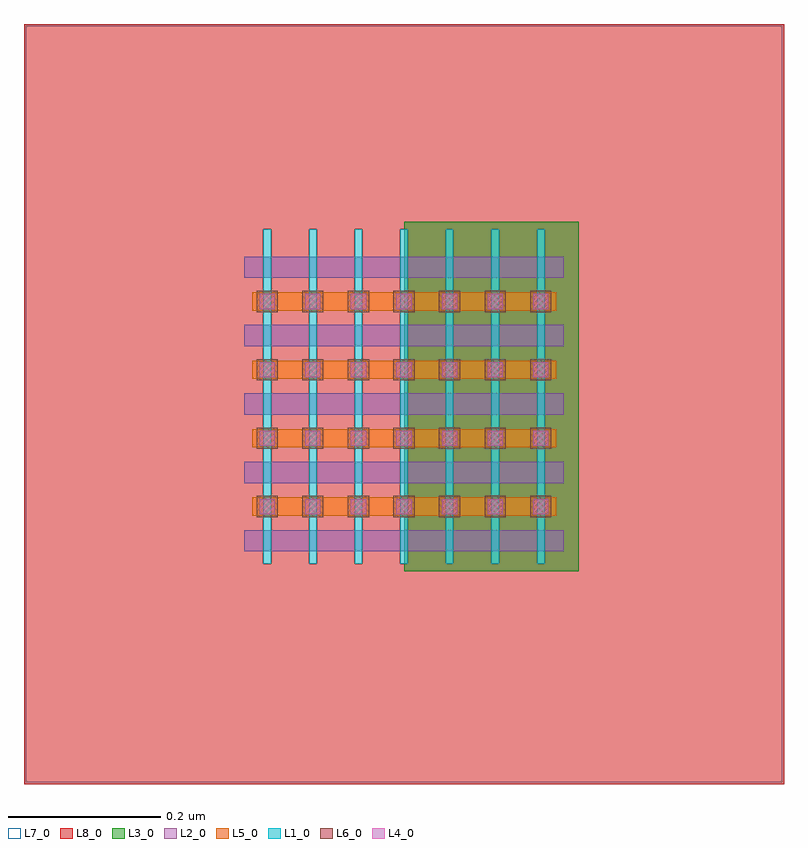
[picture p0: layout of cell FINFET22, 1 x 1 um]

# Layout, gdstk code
import gdstk
lib = gdstk.Library(unit=1e-6, precision=1e-09)
def R(c, l, rs):  # rectangles x0, y0, x1, y1
    for r in rs: c.add(gdstk.rectangle(r[:2], r[2:], *l))
def A(c, l, x, y, w, h, nx, ny, dx, dy):  # array of equal rectangles
    R(c, l, [(x+i*dx, y+j*dy, x+i*dx+w, y+j*dy+h) for i in range(nx) for j in range(ny)])
L1_0 = (1, 0)
L2_0 = (2, 0)
L3_0 = (3, 0)
L4_0 = (4, 0)
L5_0 = (5, 0)
L6_0 = (6, 0)
L7_0 = (7, 0)
L8_0 = (8, 0)

finfet22 = lib.new_cell('FINFET22')
A(finfet22, L1_0, -0.185, -0.21, 0.01, 0.44, 7, 1, 0.06, 0)
A(finfet22, L2_0, -0.21, -0.194, 0.42, 0.028, 1, 5, 0, 0.09)
R(finfet22, L3_0, [(0,-0.22,0.23,0.24)])
A(finfet22, L4_0, -0.19, -0.145, 0.02, 0.02, 7, 4, 0.06, 0.09)
A(finfet22, L5_0, -0.2, -0.147, 0.4, 0.024, 1, 4, 0, 0.09)
A(finfet22, L6_0, -0.194, -0.149, 0.028, 0.028, 7, 4, 0.06, 0.09)
R(finfet22, L7_0, [(-0.498,-0.498,0.498,0.498)])
A(finfet22, L8_0, -0.175, -0.21, 0.05, 0.44, 6, 1, 0.06, 0)
R(finfet22, L8_0, [(-0.5,-0.5,0.5,-0.21), (-0.5,-0.21,-0.185,0.23), (0.185,-0.21,0.5,0.23), (-0.5,0.23,0.5,0.5)])

lib.write_gds('FINFET22.gds')
